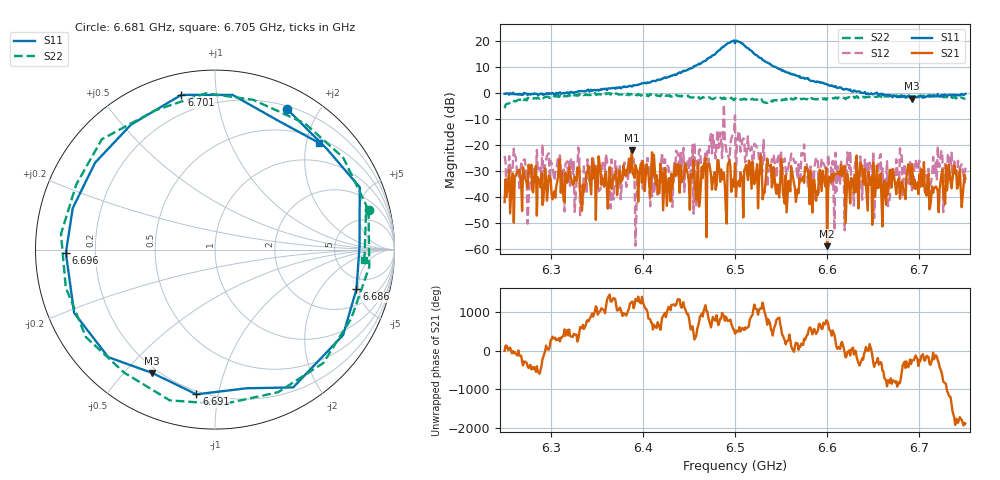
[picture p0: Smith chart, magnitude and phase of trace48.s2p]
# Hz S RI R 50
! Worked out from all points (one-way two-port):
!   401 points, 6.25 GHz to 6.75 GHz, reference 50 ohm
!   highest |S21| = -22.03 dB at 6.388 GHz (marker M1); lowest = -58.9 dB at 6.6 GHz (marker M2)
!   lowest |S11| = -2.3 dB at 6.692 GHz (marker M3), VSWR 7.74, Z = 8.84 - j29.9 ohm
!   |S11| at or under -10 dB: nowhere
!   |S22| runs from -5.9 to 0.0 dB; largest |S21 - S12| = 0.58
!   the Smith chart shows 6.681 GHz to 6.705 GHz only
!   S11 on the Smith chart (normalised r, x): 6.681 GHz: 0.23, +1.61; 6.686 GHz: 3.54, -4.72; 6.691 GHz: 0.18, -0.86; 6.696 GHz: 0.09, -0.01; 6.701 GHz: 0.10, +0.80; 6.705 GHz: 0.59, +2.25
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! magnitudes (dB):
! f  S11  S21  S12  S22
! 6.25 GHz  -0.4  -42.0  -24.2  -5.9
! 6.264 GHz  -0.5  -30.0  -32.2  -2.9
! 6.334 GHz  0.7  -45.3  -35.8  -0.7
! 6.388 GHz  2.4  -22.0  -28.0  -0.6
! 6.394 GHz  3.1  -30.4  -33.5  -1.0
! 6.418 GHz  5.0  -38.6  -32.2  -1.1
! 6.5 GHz  19.0  -27.1  -8.7  -2.2
! 6.536 GHz  11.5  -27.9  -30.3  -3.4
! 6.575 GHz  5.8  -34.5  -19.9  -2.2
! 6.584 GHz  4.6  -46.0  -32.4  -2.1
! 6.6 GHz  3.2  -58.9  -36.3  -2.3
! 6.616 GHz  1.6  -32.0  -29.2  -1.7
! 6.622 GHz  1.4  -30.9  -22.9  -1.9
! 6.668 GHz  -0.9  -29.6  -40.5  -1.3
! 6.681 GHz  -1.1  -34.1  -24.5  -1.1
! 6.686 GHz  -1.7  -32.6  -34.8  -1.2
! 6.691 GHz  -1.8  -35.1  -31.6  -1.2
! 6.692 GHz  -2.3  -27.4  -37.5  -1.3
! 6.696 GHz  -1.6  -36.9  -25.7  -1.1
! 6.701 GHz  -1.1  -36.2  -32.9  -1.3
! 6.705 GHz  -1.6  -26.6  -32.0  -1.6
! 6.75 GHz  -0.4  -33.0  -28.7  -2.1
